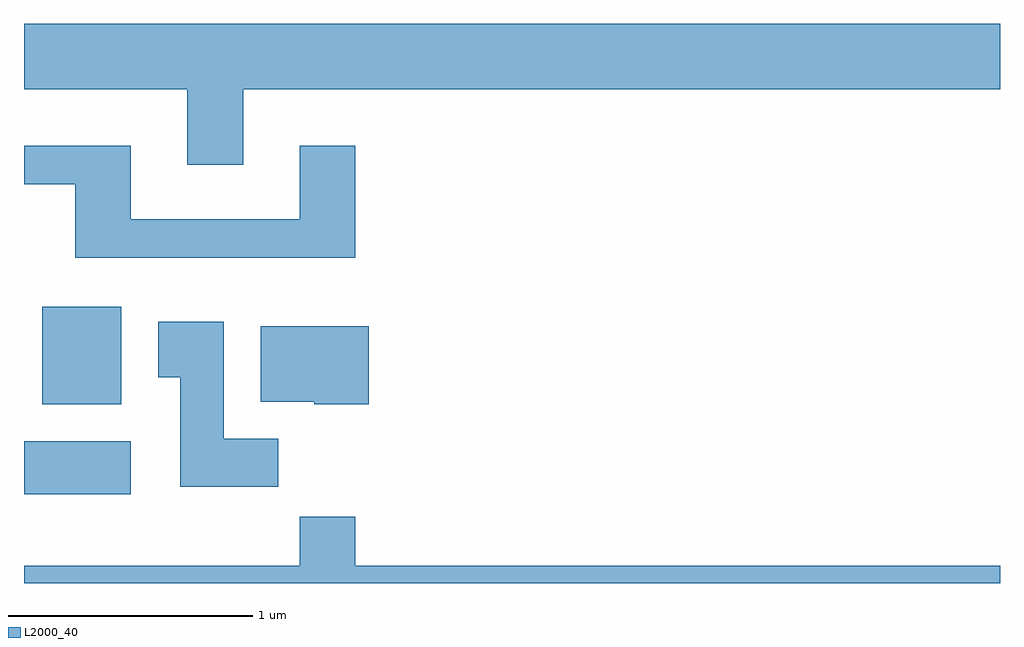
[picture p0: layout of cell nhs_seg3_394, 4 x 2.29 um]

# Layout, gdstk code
import gdstk
lib = gdstk.Library(unit=1e-6, precision=1e-09)
def R(c, l, rs):  # rectangles x0, y0, x1, y1
    for r in rs: c.add(gdstk.rectangle(r[:2], r[2:], *l))
def P(c, l, *ps):  # polygons
    for p in ps: c.add(gdstk.Polygon(p, *l))
L2000_40 = (2000, 40)

nhs_seg3_394 = lib.new_cell('nhs_seg3_394')
R(nhs_seg3_394, L2000_40, [(195.611,1224.256,196.049,1224.474), (195.686,1224.626,196.009,1225.024)])
P(nhs_seg3_394, L2000_40, [(196.509,1225.916),(199.611,1225.916),(199.611,1226.184),(195.611,1226.184),(195.611,1225.916),(196.281,1225.916),(196.281,1225.606),(196.509,1225.606)],
  [(196.969,1225.684),(196.741,1225.684),(196.741,1225.384),(196.049,1225.384),(196.049,1225.684),(195.611,1225.684),(195.611,1225.526),(195.821,1225.526),(195.821,1225.226),(196.969,1225.226)],
  [(196.654,1224.484),(196.429,1224.484),(196.429,1224.964),(196.161,1224.964),(196.161,1224.736),(196.251,1224.736),(196.251,1224.286),(196.654,1224.286)],
  [(197.024,1224.944),(196.581,1224.944),(196.581,1224.636),(196.8,1224.636),(196.8,1224.626),(197.024,1224.626)],
  [(199.611,1223.964),(196.969,1223.964),(196.969,1224.164),(196.741,1224.164),(196.741,1223.964),(195.611,1223.964),(195.611,1223.892),(199.611,1223.892)])

lib.write_gds('nhs_seg3_394.gds')
